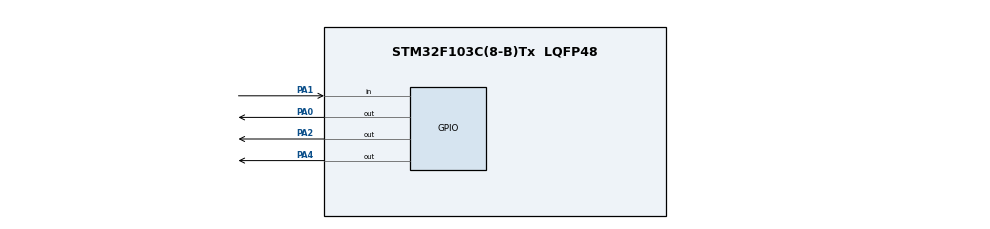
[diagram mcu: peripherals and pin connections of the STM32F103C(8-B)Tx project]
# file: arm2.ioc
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Mcu.Family=STM32F1
Mcu.Name=STM32F103C(8-B)Tx
Mcu.Package=LQFP48
NVIC.PriorityGroup=NVIC_PRIORITYGROUP_4
PA0-WKUP.Signal=GPIO_Output
PA1.GPIO_PuPd=GPIO_PULLUP
PA1.Signal=GPIO_Input
PA13.Mode=Serial_Wire
PA13.Signal=SYS_JTMS-SWDIO
PA14.Mode=Serial_Wire
PA14.Signal=SYS_JTCK-SWCLK
PA2.Signal=GPIO_Output
PA4.Signal=GPIO_Output
PD0-OSC_IN.Mode=HSE-External-Oscillator
PD0-OSC_IN.Signal=RCC_OSC_IN
PD1-OSC_OUT.Mode=HSE-External-Oscillator
PD1-OSC_OUT.Signal=RCC_OSC_OUT
ProjectManager.HeapSize=0x200
ProjectManager.StackSize=0x400
ProjectManager.TargetToolchain=MDK-ARM V5.32
RCC.APB1Freq_Value=8000000
RCC.APB2Freq_Value=8000000
board=custom

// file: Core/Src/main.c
/* USER CODE BEGIN Header */
/**
  ******************************************************************************
  * @file           : main.c
  * @brief          : Main program body
  ******************************************************************************
  * @attention
  *
  * Copyright (c) 2026 STMicroelectronics.
  * All rights reserved.
  *
  * This software is licensed under terms that can be found in the LICENSE file
  * in the root directory of this software component.
  * If no LICENSE file comes with this software, it is provided AS-IS.
  *
  ******************************************************************************
  */
/* USER CODE END Header */
#include "main.h"

/* USER CODE BEGIN PV */

unsigned int led_state = 0;

/* USER CODE END PV */

void SystemClock_Config(void);
static void MX_GPIO_Init(void);

int main(void)
{

  /* MCU Configuration--------------------------------------------------------*/

  /* Reset of all peripherals, Initializes the Flash interface and the Systick. */
  HAL_Init();

  /* Configure the system clock */
  SystemClock_Config();

  /* Initialize all configured peripherals */
  MX_GPIO_Init();

  /* Infinite loop */
  while (1)
  {

    /* USER CODE BEGIN 3 */

    // 1. kiem tra nut bam pa1 co dang o muc 0 khong
    if (HAL_GPIO_ReadPin(GPIOA, GPIO_PIN_1) == GPIO_PIN_RESET)
    {
      // HAL_Delay(20); // cho 20s de chong doi tin hieu (Debounce)

      if (HAL_GPIO_ReadPin(GPIOA, GPIO_PIN_1) == GPIO_PIN_RESET)
      {
        // tang trang thai den 0->1->2->0
        led_state++;
        if (led_state > 3)
        {
          led_state = 0;
        }

        // cap nhat trang thai bat tat cho 3 den
        switch (led_state)
        {
          case 0: // chi bat den 1
						HAL_GPIO_WritePin(GPIOA, GPIO_PIN_2, 1);   	//
            HAL_GPIO_WritePin(GPIOA, GPIO_PIN_0, 0);   	//
            HAL_GPIO_WritePin(GPIOA, GPIO_PIN_4, 0); 		//
            break;

          case 1: // chi bat den 2
						HAL_GPIO_WritePin(GPIOA, GPIO_PIN_2, 0);   	//
            HAL_GPIO_WritePin(GPIOA, GPIO_PIN_0, 1); 		//
            HAL_GPIO_WritePin(GPIOA, GPIO_PIN_4, 0);   	//
            break;

          case 2: // chi bat den 3
						HAL_GPIO_WritePin(GPIOA, GPIO_PIN_2, 0);   	//
            HAL_GPIO_WritePin(GPIOA, GPIO_PIN_0, 0);   	//
            HAL_GPIO_WritePin(GPIOA, GPIO_PIN_4, 1); 		//
            break;

          case 3: // tat ca 3 den
            HAL_GPIO_WritePin(GPIOA, GPIO_PIN_0, 0);   //
            HAL_GPIO_WritePin(GPIOA, GPIO_PIN_4, 0);   //
            HAL_GPIO_WritePin(GPIOA, GPIO_PIN_2, 0); //
            break;
        }

        // cho nguoi dung nha nut ra thi moi tiep tuc, tranh bi nhay lien tuc
        while (HAL_GPIO_ReadPin(GPIOA, GPIO_PIN_1) == GPIO_PIN_RESET);
      }
    }

    HAL_Delay(10);
  }
  /* USER CODE END 3 */
}

void SystemClock_Config(void)
{
  RCC_OscInitTypeDef RCC_OscInitStruct = {0};
  RCC_ClkInitTypeDef RCC_ClkInitStruct = {0};

  /** Initializes the RCC Oscillators according to the specified parameters
  * in the RCC_OscInitTypeDef structure.
  */
  RCC_OscInitStruct.OscillatorType = RCC_OSCILLATORTYPE_HSI;
  RCC_OscInitStruct.HSIState = RCC_HSI_ON;
  RCC_OscInitStruct.HSICalibrationValue = RCC_HSICALIBRATION_DEFAULT;
  RCC_OscInitStruct.PLL.PLLState = RCC_PLL_NONE;
  if (HAL_RCC_OscConfig(&RCC_OscInitStruct) != HAL_OK)
  {
    Error_Handler();
  }

  /** Initializes the CPU, AHB and APB buses clocks
  */
  RCC_ClkInitStruct.ClockType = RCC_CLOCKTYPE_HCLK|RCC_CLOCKTYPE_SYSCLK
                              |RCC_CLOCKTYPE_PCLK1|RCC_CLOCKTYPE_PCLK2;
  RCC_ClkInitStruct.SYSCLKSource = RCC_SYSCLKSOURCE_HSI;
  RCC_ClkInitStruct.AHBCLKDivider = RCC_SYSCLK_DIV1;
  RCC_ClkInitStruct.APB1CLKDivider = RCC_HCLK_DIV1;
  RCC_ClkInitStruct.APB2CLKDivider = RCC_HCLK_DIV1;

  if (HAL_RCC_ClockConfig(&RCC_ClkInitStruct, FLASH_LATENCY_0) != HAL_OK)
  {
    Error_Handler();
  }
}

static void MX_GPIO_Init(void)
{
  GPIO_InitTypeDef GPIO_InitStruct = {0};

  /* GPIO Ports Clock Enable */
  __HAL_RCC_GPIOD_CLK_ENABLE();
  __HAL_RCC_GPIOA_CLK_ENABLE();

  /*Configure GPIO pin Output Level */
  HAL_GPIO_WritePin(GPIOA, GPIO_PIN_0|GPIO_PIN_2|GPIO_PIN_4, GPIO_PIN_RESET);

  /*Configure GPIO pins : PA0 PA2 PA4 */
  GPIO_InitStruct.Pin = GPIO_PIN_0|GPIO_PIN_2|GPIO_PIN_4;
  GPIO_InitStruct.Mode = GPIO_MODE_OUTPUT_PP;
  GPIO_InitStruct.Pull = GPIO_NOPULL;
  GPIO_InitStruct.Speed = GPIO_SPEED_FREQ_LOW;
  HAL_GPIO_Init(GPIOA, &GPIO_InitStruct);

  /*Configure GPIO pin : PA1 */
  GPIO_InitStruct.Pin = GPIO_PIN_1;
  GPIO_InitStruct.Mode = GPIO_MODE_INPUT;
  GPIO_InitStruct.Pull = GPIO_PULLUP;
  HAL_GPIO_Init(GPIOA, &GPIO_InitStruct);

}

void Error_Handler(void)
{
  __disable_irq();
  while (1)
  {
  }
}
